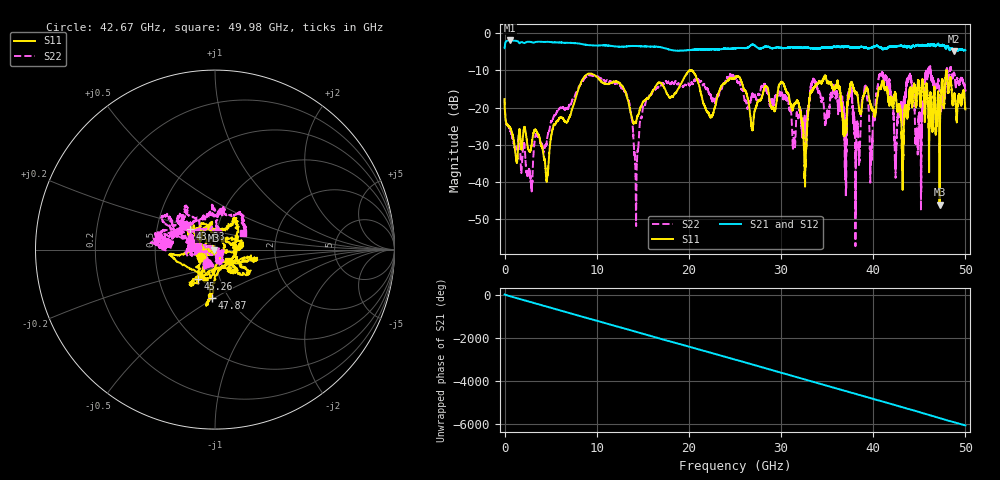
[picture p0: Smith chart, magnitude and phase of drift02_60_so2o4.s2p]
!Created with skrf (http://scikit-rf.org).
# Hz S RI R 50.0
!freq ReS11 ImS11 ReS21 ImS21 ReS12 ImS12 ReS22 ImS22
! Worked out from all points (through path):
!   10001 points, 300 kHz to 50 GHz, reference 50 ohm
!   highest |S21| = -1.99 dB at 585.3 MHz (marker M1); lowest = -4.8 dB at 48.77 GHz (marker M2)
!   group delay of S21, straight-line fit = 337 ps
!   lowest |S11| = -46.0 dB at 47.2 GHz (marker M3), VSWR 1.01, Z = 49.6 - j0.313 ohm
!   |S11| at or under -10 dB: start of sweep to 20.07 GHz; 20.24 GHz to 47.95 GHz (27.71 GHz wide, 81.3 % of centre); 47.96 GHz to end of sweep (the widest 3 of 6)
!   |S22| runs from -57.2 to -8.9 dB; largest |S21 - S12| = 0.031
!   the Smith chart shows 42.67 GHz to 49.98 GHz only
!   S11 on the Smith chart (normalised r, x): 42.67 GHz: 0.86, -0.08; 43.98 GHz: 0.73, +0.18; 45.26 GHz: 0.78, -0.27; 47.87 GHz: 0.83, -0.49; 49.98 GHz: 1.15, -0.15
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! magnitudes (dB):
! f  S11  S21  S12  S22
! 300 kHz  -17.8  -4.0  -4.0  -17.5
! 585.3 MHz  -25.3  -2.0  -2.0  -26.0
! 4.565 GHz  -39.9  -2.4  -2.4  -29.4
! 8.335 GHz  -13.0  -2.9  -2.9  -13.2
! 13.01 GHz  -15.3  -3.6  -3.6  -15.7
! 14.28 GHz  -23.8  -3.5  -3.5  -47.7
! 16.67 GHz  -13.3  -3.7  -3.7  -14.5
! 25 GHz  -12.1  -4.1  -4.1  -12.1
! 26.86 GHz  -25.7  -3.1  -3.1  -16.6
! 30.18 GHz  -13.3  -4.0  -4.1  -16.7
! 32.58 GHz  -38.7  -3.9  -4.0  -24.6
! 33.34 GHz  -15.8  -4.1  -4.1  -13.5
! 38.29 GHz  -16.7  -3.9  -3.9  -24.5
! 41.67 GHz  -18.5  -3.8  -3.8  -12.7
! 42.67 GHz  -21.2  -3.5  -3.5  -21.1
! 43.98 GHz  -14.8  -3.7  -3.7  -11.1
! 45.26 GHz  -14.4  -3.3  -3.2  -23.5
! 47.2 GHz  -46.0  -3.5  -3.4  -16.2
! 47.87 GHz  -11.4  -4.1  -4.0  -13.0
! 48.77 GHz  -16.7  -4.8  -4.8  -10.7
! 49.98 GHz  -20.1  -4.6  -4.5  -14.9
! 50 GHz  -20.5  -4.6  -4.6  -15.3
